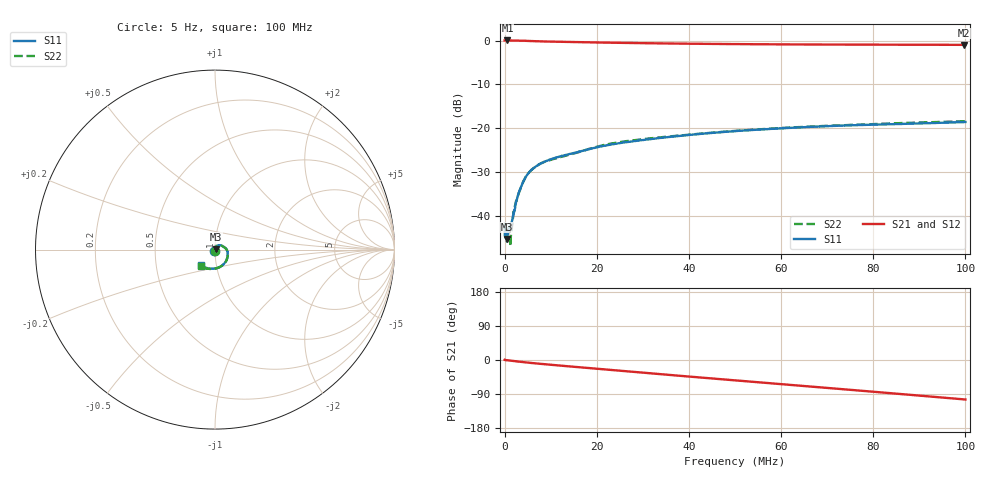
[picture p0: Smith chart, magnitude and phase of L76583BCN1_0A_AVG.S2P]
!Agilent Technologies,E5061B,MY49102235,A.02.00
!Date: Tue Jul 11 14:51:12 2023
!Data & Calibration Information:
!Freq	S11:SOLT2(ON)	S21:SOLT2(ON)	S12:SOLT2(ON)	S22:SOLT2(ON)
# Hz S RI R 50
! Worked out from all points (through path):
!   1600 points, 5 Hz to 100 MHz, reference 50 ohm
!   highest |S21| = 0.02 dB at 625.4 kHz (marker M1); lowest = -1.0 dB at 99.75 MHz (marker M2)
!   group delay of S21, straight-line fit = 2.83 ns
!   lowest |S11| = -45.3 dB at 500.3 kHz (marker M3), VSWR 1.01, Z = 50.5 + j0.265 ohm
!   |S11| at or under -10 dB: start of sweep to end of sweep
!   |S22| runs from -47.0 to -18.4 dB; largest |S21 - S12| = 0.0027
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5  -0.00524 -0.00565  1.002 0.008  1 0.0102  -0.00151 -0.00754
500317.7  0.00473 0.00263  1.001 -0.0108  1.002 -0.0108  0.00494 0.00104
625395.8  0.00526 0.0032  1.002 -0.0143  1.002 -0.0139  0.0063 0.00281
1000630  0.00418 0.00538  1 -0.0226  1.001 -0.0223  0.00552 0.00443
1500943  0.00505 0.00673  1.001 -0.0343  1.001 -0.0342  0.00367 0.00559
1688560  0.00468 0.00775  0.9996 -0.0399  1.001 -0.0399  0.00441 0.00692
1938717  0.00421 0.00981  1.001 -0.046  1 -0.0454  0.00451 0.0101
2251412  0.00472 0.011  0.999 -0.0544  0.9989 -0.0534  0.00517 0.0117
2626647  0.00642 0.0136  0.9973 -0.0633  0.9966 -0.0631  0.00577 0.014
3189498  0.00848 0.0171  0.9952 -0.0768  0.995 -0.0768  0.00736 0.0172
4377741  0.0138 0.0225  0.9882 -0.105  0.9878 -0.1048  0.0133 0.023
5378366  0.0197 0.0246  0.9807 -0.1261  0.9804 -0.126  0.0191 0.0249
7379617  0.0291 0.0247  0.9665 -0.1643  0.9661 -0.164  0.0287 0.025
9255789  0.0358 0.0227  0.9536 -0.1976  0.9532 -0.1974  0.0353 0.023
1.669794e7  0.0532 0.0121  0.9005 -0.3224  0.9003 -0.3221  0.0529 0.012
2.345216e7  0.0652 -0.00183  0.8426 -0.4258  0.8424 -0.4254  0.067 -0.00301
3.333334e7  0.0708 -0.0294  0.7421 -0.5581  0.742 -0.5578  0.0716 -0.0305
5.003127e7  0.054 -0.0748  0.5389 -0.7343  0.5388 -0.7341  0.0536 -0.0758
6.672921e7  0.0111 -0.1028  0.3022 -0.8489  0.3025 -0.8488  0.0116 -0.1036
8.33646e7  -0.0354 -0.1047  0.0442 -0.8953  0.0442 -0.8953  -0.0355 -0.1069
9.974984e7  -0.077 -0.0883  -0.2158 -0.8663  -0.2154 -0.8664  -0.0773 -0.0911
1e8  -0.0775 -0.088  -0.2196 -0.8655  -0.2194 -0.8654  -0.078 -0.0906
